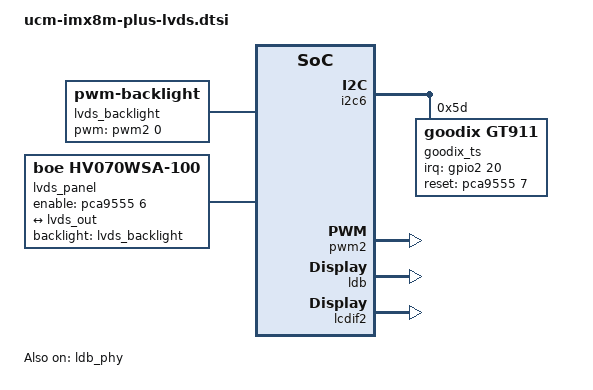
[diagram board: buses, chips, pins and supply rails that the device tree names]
/*
 * Copyright 2024 CompuLab
 *
 * This program is free software; you can redistribute it and/or
 * modify it under the terms of the GNU General Public License
 * as published by the Free Software Foundation; either version 2
 * of the License, or (at your option) any later version.
 *
 * This program is distributed in the hope that it will be useful,
 * but WITHOUT ANY WARRANTY; without even the implied warranty of
 * MERCHANTABILITY or FITNESS FOR A PARTICULAR PURPOSE.  See the
 * GNU General Public License for more details.
 */

&{/} {
	lvds_backlight: lvds_backlight {
		compatible = "pwm-backlight";
		pwms = <&pwm2 0 300000 0>;
		brightness-levels = <96 255>;
		num-interpolated-steps = <12>;
		default-brightness-level = <10>;
		status = "okay";
	};

	lvds_panel: lvds0_panel {
		compatible = "boe,hv070wsa-100";
		backlight = <&lvds_backlight>;
		enable-gpios = <&pca9555 6 GPIO_ACTIVE_HIGH>;
		status = "okay";

		port {
			panel_lvds_in: endpoint {
				remote-endpoint = <&lvds_out>;
			};
		};
	};
};

&i2c6 {
	#address-cells = <1>;
	#size-cells = <0>;
	status = "okay";

	goodix_ts@5d {
		compatible = "goodix,gt911";
		reg = <0x5d>;

		interrupt-parent = <&gpio2>;
		interrupts = <20 IRQ_TYPE_LEVEL_HIGH>;

		pinctrl-names = "default";
		pinctrl-0 = <&touchscreen1_pins>;

		irq-gpios = <&gpio2 20 GPIO_ACTIVE_HIGH>;
		reset-gpios = <&pca9555 7 GPIO_ACTIVE_HIGH>;
		status = "okay";
	};
};

&iomuxc {

	pinctrl_pwm2: pwm2grp {
		fsl,pins = <
			MX8MP_IOMUXC_SPDIF_RX__PWM2_OUT		0x116
		 >;
	};

	touchscreen1_pins: ts1grp {
		fsl,pins = <
			MX8MP_IOMUXC_SD2_WP__GPIO2_IO20		0x00
		>;
	};
};

&pwm2 {
	pinctrl-names = "default";
	pinctrl-0 = <&pinctrl_pwm2>;
	status = "okay";
};

&lvds_backlight {
	status = "okay";
};

&lvds_panel {
	status = "okay";
};

&ldb {
	#address-cells = <1>;
	#size-cells = <0>;
	status = "okay";

	lvds-channel@0 {
		#address-cells = <1>;
		#size-cells = <0>;
		fsl,data-mapping = "spwg";
		fsl,data-width = <24>;
		status = "okay";

		port@1 {
			reg = <1>;

			lvds_out: endpoint {
				remote-endpoint = <&panel_lvds_in>;
			};
		};
	};
};

&ldb_phy {
	status = "okay";
};

&lcdif2 {
	status = "okay";
};
